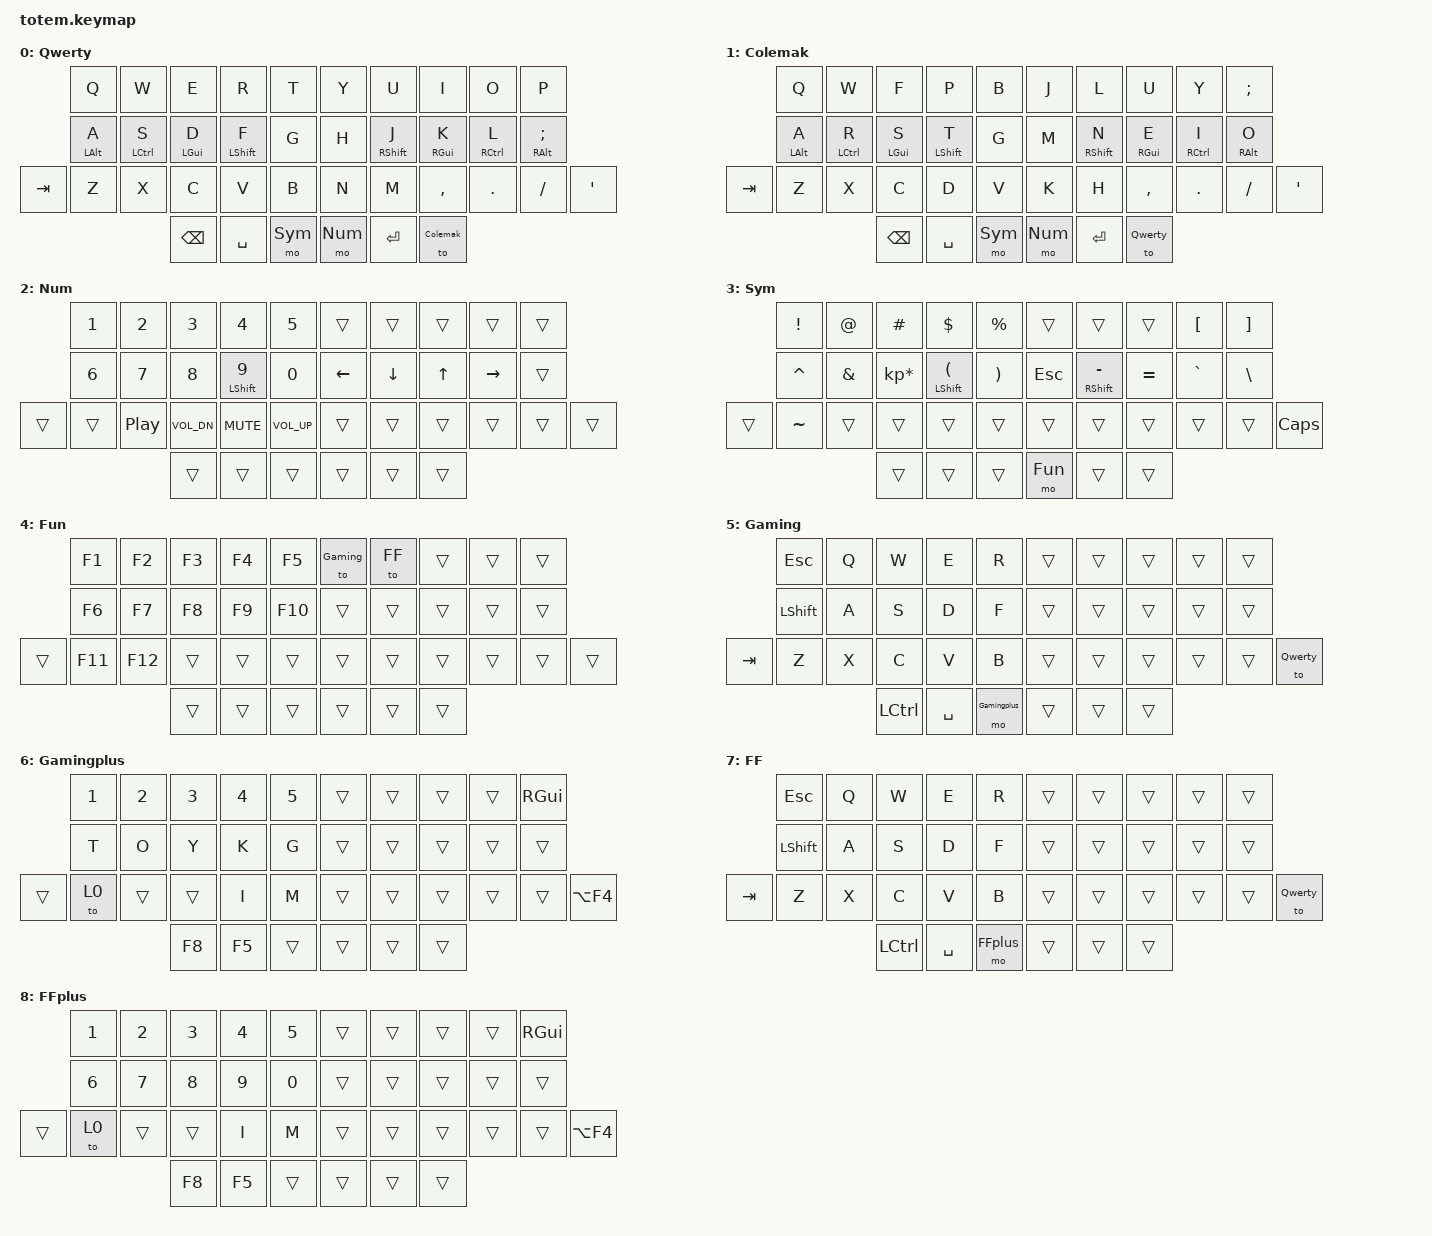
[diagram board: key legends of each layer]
//
//                                                        ▀▀▀▀▀     ▀▀▀▀▀          ▀▀█▀▀
//                                                        ▄▀▀▀▄  ▄  ▄▀▀▀▄  ▄  ▄▀▀▀▄  █  ▄▀▀▀▄
//                                                        █   █  █  █   █  █  █   █  █  █   █
//                                                         ▀▀▀   █   ▀▀▀   █   ▀▀▀   ▀   ▀▀▀
//                                                               █      ▄▄▄█▄▄▄    █   █  
//                                                               ▀      █  █  █     █▄█
//                                                             ▀▀▀▀▀    █  █  █      ▀
//                                                                      ▀  ▀  ▀
//

// ▄▄▄▄▄▄▄▄▄▄▄▄▄▄▄▄▄▄▄▄▄▄▄▄▄▄▄▄▄▄▄▄▄▄▄▄▄▄▄▄▄▄▄▄▄▄▄▄▄▄▄▄▄▄▄▄▄▄▄▄▄▄▄▄▄▄▄▄▄▄▄▄▄▄▄▄▄▄▄▄▄▄▄▄▄▄▄▄▄▄▄▄▄▄▄▄▄▄▄▄▄▄▄▄▄▄▄▄▄▄▄▄▄▄▄▄▄▄▄▄▄▄▄▄▄▄▄▄▄▄▄▄▄▄▄▄▄▄▄▄▄▄▄▄▄▄▄▄▄

#include <behaviors.dtsi>
#include <dt-bindings/zmk/keys.h>


#define Qwerty      0
#define Colemak     1
#define Num         2
#define Sym         3
#define Fun         4
#define Gaming      5
#define Gamingplus  6
#define FF 7
#define FFplus 8

&mt {
    quick-tap-ms = <100>;
    global-quick-tap;
    flavor = "tap-preferred";
    tapping-term-ms = <170>;
};

&lt {
    tapping-term-ms = <240>;
    flavor = "balanced";
    quick-tap-ms = <150>;
};

/ {
    behaviors {
        hm: homerow_mods {
            compatible = "zmk,behavior-hold-tap";
            label = "HOMEROW_MODS";
            #binding-cells = <2>;
            flavor = "tap-preferred";
            tapping-term-ms = <200>;
            quick-tap-ms = <125>;
            global-quick-tap;
            bindings = <&kp>, <&kp>;
        };
    };

    combos { compatible = "zmk,combos"; };
    keymap {
        compatible = "zmk,keymap";

        Qwerty {
            label = "Qwerty";
            bindings = <
              &kp Q       &kp W       &kp E         &kp R         &kp T        &kp Y    &kp U        &kp I       &kp O       &kp P
              &hm LALT A  &hm LCTRL S &hm LGUI D    &hm LSHIFT F  &kp G        &kp H    &hm RSHFT J  &hm RGUI K  &hm RCTRL L &hm RALT SEMICOLON
  &kp TAB     &kp Z       &kp X       &kp C         &kp V         &kp B        &kp N    &kp M        &kp COMMA   &kp DOT     &kp SLASH    &kp APOSTROPHE
                                      &kp BSPC      &kp SPACE     &mo Sym      &mo Num  &kp RET      &to Colemak
            >;
        };        
        
        Colemak {
            label = "Colemak";
            bindings = <
              &kp Q       &kp W       &kp F         &kp P         &kp B        &kp J    &kp L        &kp U       &kp Y       &kp SEMICOLON
              &hm LALT A  &hm LCTRL R &hm LGUI S    &hm LSHIFT T  &kp G        &kp M    &hm RSHFT N  &hm RGUI E  &hm RCTRL I &hm RALT O
  &kp TAB     &kp Z       &kp X       &kp C         &kp D         &kp V        &kp K    &kp H        &kp COMMA   &kp DOT     &kp SLASH    &kp APOSTROPHE
                                      &kp BSPC      &kp SPACE     &mo Sym      &mo Num  &kp RET      &to Qwerty
            >;
        };

        Num {
            label = "Num";
            bindings = <
              &kp N1    &kp N2   &kp N3    &kp N4   &kp N5          &trans    &trans        &trans  &trans    &trans
              &kp N6    &kp N7   &kp N8    &hm LSHIFT N9   &kp N0          &kp LEFT  &kp DOWN      &kp UP  &kp RIGHT &trans
&trans        &trans   &kp C_PP   &kp C_VOL_DN   &kp C_MUTE    &kp C_VOL_UP      &trans  &trans  &trans  &trans  &trans  &trans
                                         &trans        &trans     &trans      &trans    &trans        &trans
            >;
        };

        Sym {
            label = "Sym";
            bindings = <
        &kp EXCL  &kp AT  &kp HASH  &kp DOLLAR  &kp PERCENT               &trans      &trans         &trans           &kp LBKT   &kp RBKT
        &kp CARET  &kp AMPERSAND  &kp KP_ASTERISK  &hm LSHFT LPAR  &kp RPAR       &kp ESC     &hm RSHFT MINUS     &kp EQUAL     &kp GRAVE   &kp BACKSLASH
&trans  &kp TILDE    &trans  &trans    &trans      &trans                 &trans      &trans      &trans           &trans   &trans  &kp CAPS
                          &trans    &trans      &trans         &mo Fun     &trans         &trans
            >;
        };

        Fun {
            label = "Fun";
            bindings = <
        &kp F1    &kp F2   &kp F3  &kp F4  &kp F5     &to Gaming  &to FF  &trans  &trans   &trans
        &kp F6    &kp F7   &kp F8  &kp F9  &kp F10    &trans  &trans  &trans  &trans   &trans
&trans  &kp F11   &kp F12  &trans  &trans  &trans     &trans  &trans  &trans  &trans   &trans  &trans
                           &trans  &trans  &trans     &trans  &trans  &trans
            >;
        };

        Gaming {
            bindings = <
            &kp ESCAPE      &kp Q  &kp W      &kp E         &kp R          &trans  &trans  &trans  &trans  &trans
            &kp LEFT_SHIFT  &kp A  &kp S      &kp D         &kp F          &trans  &trans  &trans  &trans  &trans
&kp TAB     &kp Z           &kp X  &kp C      &kp V         &kp B          &trans  &trans  &trans  &trans  &trans  &to Qwerty
                                   &kp LCTRL  &kp SPACE     &mo Gamingplus    &trans  &trans  &trans
            >;

            label = "Gaming";
        };

        Gamingplus {
            bindings = <
                    &kp N1   &kp N2      &kp N3        &kp N4     &kp N5    &trans     &trans    &trans  &trans  &kp RGUI
                    &kp T    &kp O       &kp Y         &kp K      &kp G     &trans     &trans    &trans  &trans  &trans
&trans  &to 0    &trans      &trans        &kp I      &kp M    &trans     &trans    &trans  &trans  &trans   &kp LA(F4)
                             &kp F8        &kp F5     &trans    &trans     &trans    &trans
            >;

            label = "Gamingplus";
        };

        FF {
            bindings = <
            &kp ESCAPE      &kp Q  &kp W      &kp E         &kp R          &trans  &trans  &trans  &trans  &trans
            &kp LEFT_SHIFT  &kp A  &kp S      &kp D         &kp F          &trans  &trans  &trans  &trans  &trans
&kp TAB     &kp Z           &kp X  &kp C      &kp V         &kp B          &trans  &trans  &trans  &trans  &trans  &to Qwerty
                                   &kp LCTRL  &kp SPACE     &mo FFplus    &trans  &trans  &trans
            >;

            label = "FF";
        };

        FFplus {
            bindings = <
        &kp N1   &kp N2      &kp N3        &kp N4     &kp N5    &trans     &trans    &trans  &trans  &kp RGUI
        &kp N6   &kp N7      &kp N8        &kp N9     &kp N0    &trans     &trans    &trans  &trans  &trans
&trans  &to 0    &trans      &trans        &kp I      &kp M     &trans     &trans    &trans  &trans  &trans   &kp LA(F4)
                             &kp F8        &kp F5     &trans    &trans     &trans    &trans
            >;

            label = "FFplus";
        };
    };
};


